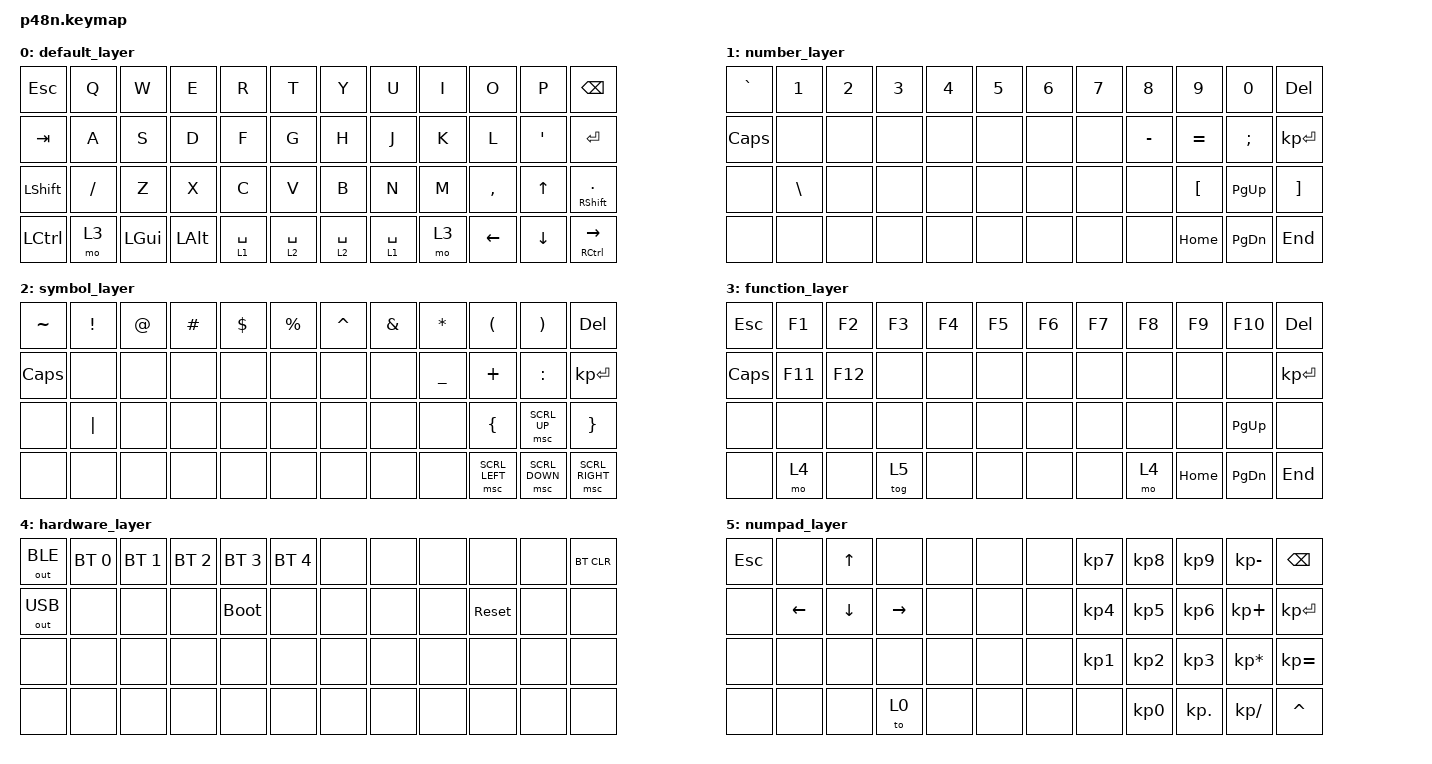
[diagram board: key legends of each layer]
#include <behaviors.dtsi>
#include <dt-bindings/zmk/keys.h>
#include <dt-bindings/zmk/bt.h>
#include <dt-bindings/zmk/outputs.h>
#include <dt-bindings/zmk/mouse.h>

/ {
    behaviors {
        // 1. 大拇指 Space / Layer-Tap 行为配置
        lt_sp: layer_tap_space {
            compatible = "zmk,behavior-hold-tap";
            #binding-cells = <2>;
            flavor = "tap-preferred";
            tapping-term-ms = <200>;
            bindings = <&mo &kp>; // 【规范修正】写在同一个尖括号内
        };

        // 2. 右下角 Arrow / Ctrl 双功能键配置
        arr_ctrl: arrow_right_ctrl {
            compatible = "zmk,behavior-hold-tap";
            #binding-cells = <2>;
            flavor = "hold-preferred";
            tapping-term-ms = <180>;
            quick-tap-ms = <125>;
            bindings = <&kp &kp>; // 【规范修正】写在同一个尖括号内
        };

        // 3. 右下角 。 / Shift 双功能键配置
        dot_shft: dot_shift {
            compatible = "zmk,behavior-hold-tap";
            #binding-cells = <2>;
            flavor = "hold-preferred";
            tapping-term-ms = <180>;
            quick-tap-ms = <125>;
            bindings = <&kp &kp>; // 【规范修正】写在同一个尖括号内
        };
    };

    keymap {
        compatible = "zmk,keymap";

        // L0: 基础层 (Base Layer)
        default_layer {
            bindings = <
    &kp ESC   &kp Q     &kp W     &kp E     &kp R          &kp T          &kp Y          &kp U          &kp I     &kp O     &kp P     &kp BSPC
    &kp TAB   &kp A     &kp S     &kp D     &kp F          &kp G          &kp H          &kp J          &kp K     &kp L     &kp SQT   &kp ENTER
    &kp LSHFT &kp FSLH  &kp Z     &kp X     &kp C          &kp V          &kp B          &kp N          &kp M     &kp COMMA &kp UP    &dot_shft RSHFT DOT
    &kp LCTRL &mo 3     &kp LGUI  &kp LALT  &lt_sp 1 SPACE &lt_sp 2 SPACE &lt_sp 2 SPACE &lt_sp 1 SPACE &mo 3     &kp LEFT  &kp DOWN  &arr_ctrl RCTRL RIGHT
            >;
        };

        // L1: 数字层 (Number Layer)
        number_layer {
            bindings = <
    &kp GRAVE &kp N1    &kp N2    &kp N3    &kp N4         &kp N5         &kp N6         &kp N7         &kp N8    &kp N9    &kp N0    &kp DEL
    &kp CLCK  &none     &none     &none     &none          &none          &none          &none          &kp MINUS &kp EQUAL &kp SEMI  &kp KP_ENTER
    &none     &kp BSLH  &none     &none     &none          &none          &none          &none          &none     &kp LBKT  &kp PG_UP &kp RBKT
    &none     &none     &none     &none     &none          &none          &none          &none          &none     &kp HOME  &kp PG_DN &kp END
            >;
        };

        // L2: 符号层 (Symbol Layer)
        symbol_layer {
            bindings = <
    &kp TILDE &kp EXCL  &kp AT    &kp HASH  &kp DLLR       &kp PRCNT      &kp CARET      &kp AMPS       &kp ASTRK &kp LPAR  &kp RPAR  &kp DEL
    &kp CLCK  &none     &none     &none     &none          &none          &none          &none          &kp UNDER &kp PLUS  &kp COLON &kp KP_ENTER
    &none     &kp PIPE  &none     &none     &none          &none          &none          &none          &none     &kp LBRC  &msc SCRL_UP &kp RBRC
    &none     &none     &none     &none     &none          &none          &none          &none          &none     &msc SCRL_LEFT &msc SCRL_DOWN &msc SCRL_RIGHT
            >;
        };

        // L3: 功能键层 (Function Layer)
        function_layer {
            bindings = <
    &kp ESC   &kp F1    &kp F2    &kp F3    &kp F4         &kp F5         &kp F6         &kp F7         &kp F8    &kp F9    &kp F10   &kp DEL
    &kp CLCK  &kp F11   &kp F12   &none     &none          &none          &none          &none          &none     &none     &none     &kp KP_ENTER
    &none     &none     &none     &none     &none          &none          &none          &none          &none     &none     &kp PG_UP &none
    &none     &mo 4     &none     &tog 5     &none          &none          &none          &none          &mo 4     &kp HOME  &kp PG_DN &kp END
            >;
        };

        // L4: 硬件与蓝牙层 (Hardware & Bluetooth Layer)
        hardware_layer {
            bindings = <
    &out OUT_BLE &bt BT_SEL 0 &bt BT_SEL 1 &bt BT_SEL 2 &bt BT_SEL 3 &bt BT_SEL 4  &none  &none        &none     &none     &none     &bt BT_CLR
    &out OUT_USB &none        &none        &none        &bootloader  &none         &none  &none        &none     &sys_reset     &none     &none
    &none        &none        &none        &none        &none        &none         &none  &none        &none     &none     &none     &none
    &none        &none        &none        &none        &none        &none         &none  &none        &none     &none     &none     &none
            >;
        };

        // L5: 独立数字小键盘层 (Numpad Layer)
        numpad_layer {
            bindings = <
    &kp ESC   &none     &kp UP    &none     &none          &none          &none          &kp KP_N7      &kp KP_N8 &kp KP_N9 &kp KP_MINUS &kp BSPC
    &none     &kp LEFT  &kp DOWN  &kp RIGHT &none          &none          &none          &kp KP_N4      &kp KP_N5 &kp KP_N6 &kp KP_PLUS  &kp KP_ENTER
    &none     &none     &none     &none     &none          &none          &none          &kp KP_N1      &kp KP_N2 &kp KP_N3 &kp KP_MULTIPLY &kp KP_EQUAL
    &none     &none     &none     &to 0     &none          &none          &none          &none          &kp KP_N0 &kp KP_DOT &kp KP_SLASH &kp CARET
            >;
        };
    };
};
